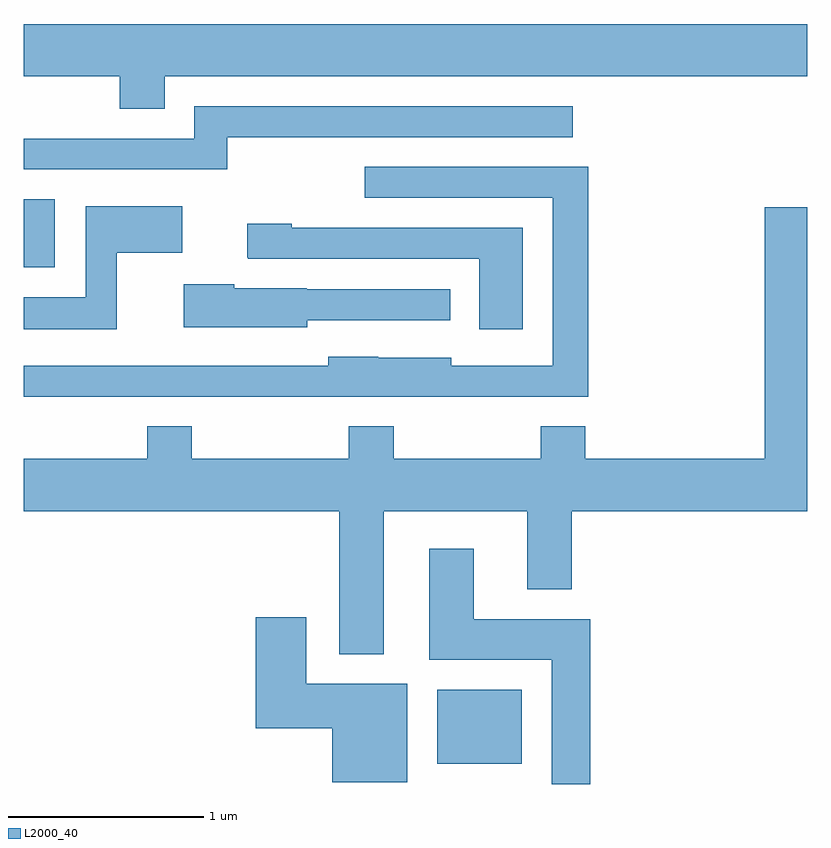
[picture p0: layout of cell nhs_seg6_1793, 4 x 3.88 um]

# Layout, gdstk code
import gdstk
lib = gdstk.Library(unit=1e-6, precision=1e-09)
def R(c, l, rs):  # rectangles x0, y0, x1, y1
    for r in rs: c.add(gdstk.rectangle(r[:2], r[2:], *l))
def P(c, l, *ps):  # polygons
    for p in ps: c.add(gdstk.Polygon(p, *l))
L2000_40 = (2000, 40)

nhs_seg6_1793 = lib.new_cell('nhs_seg6_1793')
R(nhs_seg6_1793, L2000_40, [(241.721,1584.266,242.154,1584.644), (239.611,1586.801,239.769,1587.149)])
P(nhs_seg6_1793, L2000_40, [(240.329,1587.776),(243.611,1587.776),(243.611,1588.044),(239.611,1588.044),(239.611,1587.776),(240.101,1587.776),(240.101,1587.611),(240.329,1587.611)],
  [(240.649,1587.466),(242.413,1587.466),(242.413,1587.624),(240.481,1587.624),(240.481,1587.459),(239.611,1587.459),(239.611,1587.301),(240.649,1587.301)],
  [(242.494,1587.314),(241.353,1587.314),(241.353,1587.156),(242.311,1587.156),(242.311,1586.299),(241.794,1586.299),(241.794,1586.339),(241.42,1586.339),(241.42,1586.344),(241.166,1586.344),(241.166,1586.299),(239.611,1586.299),(239.611,1586.141),(242.494,1586.141)],
  [(240.084,1586.876),(240.419,1586.876),(240.419,1587.114),(239.926,1587.114),(239.926,1586.649),(239.611,1586.649),(239.611,1586.486),(240.084,1586.486)],
  [(241.449,1585.556),(242.181,1585.556),(242.181,1585.156),(242.409,1585.156),(242.409,1585.556),(243.611,1585.556),(243.611,1587.109),(243.396,1587.109),(243.396,1585.824),(242.479,1585.824),(242.479,1585.989),(242.251,1585.989),(242.251,1585.824),(241.499,1585.824),(241.499,1585.989),(241.271,1585.989),(241.271,1585.824),(240.469,1585.824),(240.469,1585.989),(240.241,1585.989),(240.241,1585.824),(239.611,1585.824),(239.611,1585.556),(241.221,1585.556),(241.221,1584.826),(241.449,1584.826)],
  [(242.159,1587.004),(240.979,1587.004),(240.979,1587.024),(240.751,1587.024),(240.751,1586.852),(240.757,1586.846),(241.936,1586.846),(241.936,1586.486),(242.159,1586.486)],
  [(241.059,1586.531),(241.788,1586.531),(241.788,1586.689),(241.055,1586.689),(241.055,1586.694),(240.684,1586.694),(240.684,1586.714),(240.426,1586.714),(240.426,1586.496),(241.059,1586.496)],
  [(242.504,1585.004),(241.909,1585.004),(241.909,1585.364),(241.681,1585.364),(241.681,1584.796),(242.306,1584.796),(242.306,1584.162),(242.504,1584.162)],
  [(241.569,1584.674),(241.054,1584.674),(241.054,1585.014),(240.796,1585.014),(240.796,1584.446),(241.186,1584.446),(241.186,1584.171),(241.569,1584.171)])

lib.write_gds('nhs_seg6_1793.gds')
